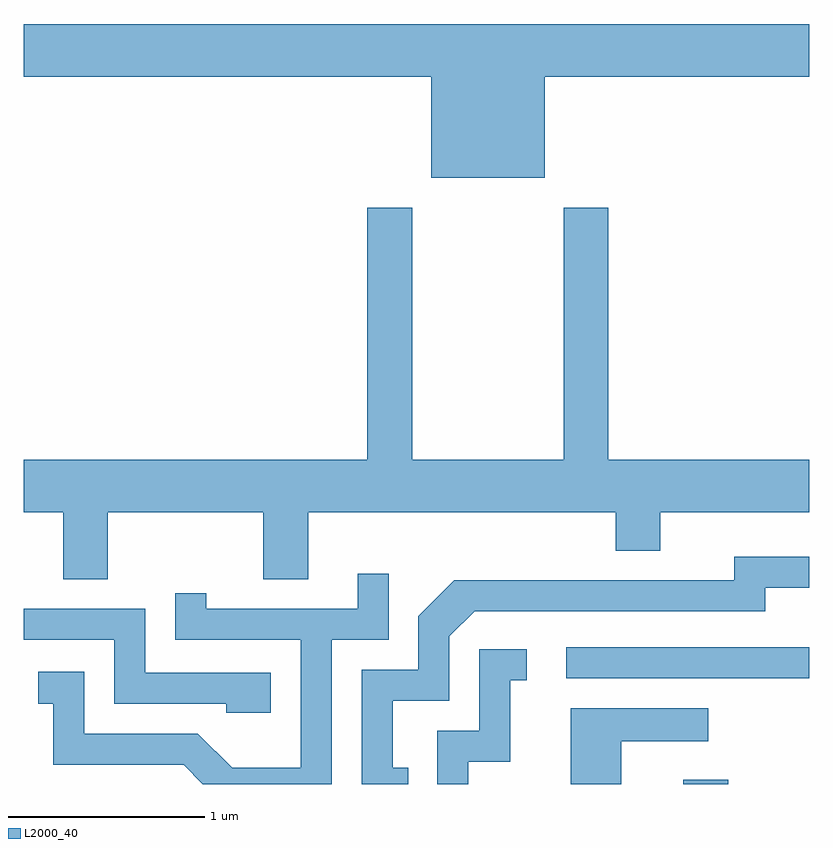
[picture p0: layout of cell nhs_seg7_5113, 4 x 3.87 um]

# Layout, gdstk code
import gdstk
lib = gdstk.Library(unit=1e-6, precision=1e-09)
def R(c, l, rs):  # rectangles x0, y0, x1, y1
    for r in rs: c.add(gdstk.rectangle(r[:2], r[2:], *l))
def P(c, l, *ps):  # polygons
    for p in ps: c.add(gdstk.Polygon(p, *l))
L2000_40 = (2000, 40)

nhs_seg7_5113 = lib.new_cell('nhs_seg7_5113')
R(nhs_seg7_5113, L2000_40, [(344.971,1726.252,345.199,1726.274), (344.373,1726.791,345.611,1726.949)])
P(nhs_seg7_5113, L2000_40, [(344.264,1729.856),(345.611,1729.856),(345.611,1730.124),(341.611,1730.124),(341.611,1729.856),(343.686,1729.856),(343.686,1729.341),(344.264,1729.341)],
  [(342.039,1727.636),(342.831,1727.636),(342.831,1727.296),(343.059,1727.296),(343.059,1727.636),(344.626,1727.636),(344.626,1727.441),(344.854,1727.441),(344.854,1727.636),(345.611,1727.636),(345.611,1727.904),(344.589,1727.904),(344.589,1729.189),(344.361,1729.189),(344.361,1727.904),(343.589,1727.904),(343.589,1729.189),(343.361,1729.189),(343.361,1727.904),(341.611,1727.904),(341.611,1727.636),(341.811,1727.636),(341.811,1727.296),(342.039,1727.296)],
  [(343.568,1726.334),(343.489,1726.334),(343.489,1726.676),(343.779,1726.676),(343.779,1727.004),(343.907,1727.131),(345.389,1727.131),(345.389,1727.251),(345.611,1727.251),(345.611,1727.409),(345.231,1727.409),(345.231,1727.289),(343.804,1727.289),(343.621,1727.107),(343.621,1726.834),(343.331,1726.834),(343.331,1726.252),(343.568,1726.252)],
  [(343.179,1726.986),(343.469,1726.986),(343.469,1727.323),(343.311,1727.323),(343.311,1727.144),(342.539,1727.144),(342.539,1727.223),(342.381,1727.223),(342.381,1726.986),(343.021,1726.986),(343.021,1726.334),(342.672,1726.334),(342.497,1726.509),(341.919,1726.509),(341.919,1726.824),(341.683,1726.824),(341.683,1726.661),(341.761,1726.661),(341.761,1726.351),(342.424,1726.351),(342.523,1726.252),(343.179,1726.252)],
  [(342.869,1726.819),(342.229,1726.819),(342.229,1727.144),(341.611,1727.144),(341.611,1726.986),(342.071,1726.986),(342.071,1726.661),(342.641,1726.661),(342.641,1726.616),(342.869,1726.616)],
  [(343.874,1726.366),(344.089,1726.366),(344.089,1726.781),(344.173,1726.781),(344.173,1726.939),(343.931,1726.939),(343.931,1726.524),(343.716,1726.524),(343.716,1726.252),(343.874,1726.252)],
  [(344.654,1726.471),(345.098,1726.471),(345.098,1726.639),(344.396,1726.639),(344.396,1726.252),(344.654,1726.252)])

lib.write_gds('nhs_seg7_5113.gds')
